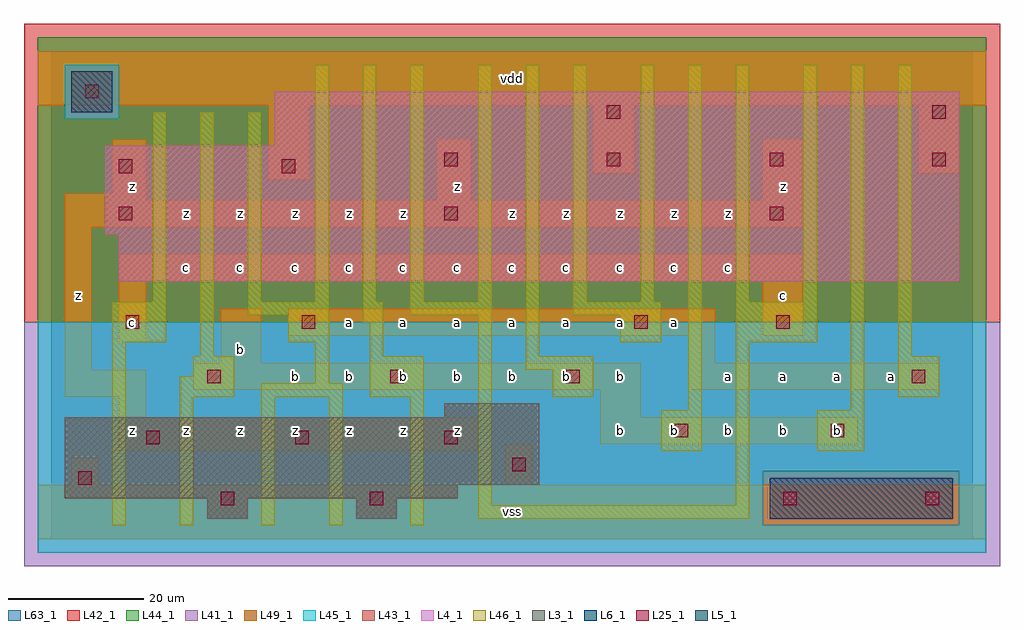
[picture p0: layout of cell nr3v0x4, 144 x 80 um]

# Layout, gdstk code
import gdstk
lib = gdstk.Library(unit=1e-6, precision=1e-09)
def R(c, l, rs):  # rectangles x0, y0, x1, y1
    for r in rs: c.add(gdstk.rectangle(r[:2], r[2:], *l))
def A(c, l, x, y, w, h, nx, ny, dx, dy):  # array of equal rectangles
    R(c, l, [(x+i*dx, y+j*dy, x+i*dx+w, y+j*dy+h) for i in range(nx) for j in range(ny)])
L3_1 = (3, 1)
L4_1 = (4, 1)
L5_1 = (5, 1)
L6_1 = (6, 1)
L25_1 = (25, 1)
L41_1 = (41, 1)
L42_1 = (42, 1)
L43_1 = (43, 1)
L44_1 = (44, 1)
L45_1 = (45, 1)
L46_1 = (46, 1)
L49_1 = (49, 1)
L63_1 = (63, 1)

nr3v0x4 = lib.new_cell('nr3v0x4')
R(nr3v0x4, L3_1, [(23,3,29,6), (45,3,51,6), (2,6,60,8), (2,8,72,18), (58,18,72,20)])
R(nr3v0x4, L4_1, [(10,38,134,45), (8,45,134,58), (33,58,134,66)])
R(nr3v0x4, L5_1, [(3,63,9,69)])
R(nr3v0x4, L6_1, [(106,3,133,9), (106,3,133,9)])
A(nr3v0x4, L25_1, 14, 14, 2, 2, 3, 1, 22, 0)
A(nr3v0x4, L25_1, 10, 47, 2, 2, 3, 1, 48, 0)
A(nr3v0x4, L25_1, 58, 55, 2, 2, 4, 1, 24, 0)
R(nr3v0x4, L25_1, [(25,5,27,7), (47,5,49,7), (108,5,110,7), (129,5,131,7), (4,8,6,10), (68,10,70,12), (92,15,94,17), (115,15,117,17), (23,23,25,25), (50,23,52,25), (76,23,78,25), (127,23,129,25), (11,31,13,33), (37,31,39,33), (86,31,88,33), (107,31,109,33), (10,54,12,56), (34,54,36,56), (82,62,84,64), (130,62,132,64), (5,65,7,67)])
R(nr3v0x4, L41_1, [(-4,-4,140,32)])
R(nr3v0x4, L42_1, [(-4,32,140,76)])
R(nr3v0x4, L43_1, [(23,3,29,6), (45,3,51,6), (106,3,133,9), (2,6,60,8), (2,8,72,18), (58,18,72,20), (10,38,134,45), (8,45,134,58), (33,58,134,66), (3,63,9,69)])
R(nr3v0x4, L44_1, [(105,2,134,10), (-2,32,138,62), (-2,62,2,70), (10,62,138,70), (-2,70,138,74)])
R(nr3v0x4, L45_1, [(-2,-2,138,2), (-2,2,105,10), (134,2,138,10), (-2,10,138,32), (2,62,10,70)])
A(nr3v0x4, L46_1, 39, 35, 2, 35, 3, 1, 7, 0)
R(nr3v0x4, L46_1, [(9,2,11,29), (19,2,21,21), (31,2,33,21), (41,2,43,21), (53,2,55,21), (63,3,103,5), (63,5,65,33), (101,5,103,29), (90,13,96,19), (113,13,120,19), (94,19,96,70), (118,19,120,70), (19,21,27,24), (31,21,43,23), (47,21,55,27), (74,21,80,25), (125,21,131,27), (39,23,41,29), (21,24,27,27), (70,25,80,27), (22,27,24,63), (47,27,49,32), (70,27,72,70), (125,27,127,70), (9,29,17,35), (35,29,41,33), (84,29,90,33), (101,29,113,35), (46,32,49,35), (29,33,41,35), (53,33,65,35), (77,33,90,35), (15,35,17,63), (29,35,31,63), (63,35,65,70), (77,35,79,70), (87,35,89,70), (101,35,103,70), (111,35,113,70)])
R(nr3v0x4, L49_1, [(-2,0,138,8), (3,8,7,12), (67,8,71,14), (10,13,63,18), (81,14,119,18), (10,18,14,21), (81,18,87,22), (2,21,14,25), (21,22,87,26), (94,22,131,26), (2,25,6,46), (25,26,31,34), (94,26,98,30), (10,29,14,38), (35,30,98,34), (105,30,111,38), (10,38,111,42), (2,46,111,50), (2,50,14,51), (57,50,62,59), (105,50,111,59), (9,51,14,59), (32,53,38,64), (80,54,86,64), (128,54,134,64), (-2,64,138,72)])
R(nr3v0x4, L63_1, [(0,0,136,72)])
nr3v0x4.add(gdstk.Label('z', (12,16), layer=49, texttype=1))
nr3v0x4.add(gdstk.Label('c', (12,32), layer=49, texttype=1))
nr3v0x4.add(gdstk.Label('z', (4,36), layer=49, texttype=1))
nr3v0x4.add(gdstk.Label('z', (12,52), layer=49, texttype=1))
nr3v0x4.add(gdstk.Label('z', (20,16), layer=49, texttype=1))
nr3v0x4.add(gdstk.Label('z', (28,16), layer=49, texttype=1))
nr3v0x4.add(gdstk.Label('z', (36,16), layer=49, texttype=1))
nr3v0x4.add(gdstk.Label('b', (28,28), layer=49, texttype=1))
nr3v0x4.add(gdstk.Label('b', (36,24), layer=49, texttype=1))
nr3v0x4.add(gdstk.Label('c', (28,40), layer=49, texttype=1))
nr3v0x4.add(gdstk.Label('c', (36,40), layer=49, texttype=1))
nr3v0x4.add(gdstk.Label('c', (20,40), layer=49, texttype=1))
nr3v0x4.add(gdstk.Label('z', (28,48), layer=49, texttype=1))
nr3v0x4.add(gdstk.Label('z', (36,48), layer=49, texttype=1))
nr3v0x4.add(gdstk.Label('z', (20,48), layer=49, texttype=1))
nr3v0x4.add(gdstk.Label('z', (44,16), layer=49, texttype=1))
nr3v0x4.add(gdstk.Label('z', (52,16), layer=49, texttype=1))
nr3v0x4.add(gdstk.Label('z', (60,16), layer=49, texttype=1))
nr3v0x4.add(gdstk.Label('b', (52,24), layer=49, texttype=1))
nr3v0x4.add(gdstk.Label('b', (60,24), layer=49, texttype=1))
nr3v0x4.add(gdstk.Label('b', (44,24), layer=49, texttype=1))
nr3v0x4.add(gdstk.Label('a', (44,32), layer=49, texttype=1))
nr3v0x4.add(gdstk.Label('a', (52,32), layer=49, texttype=1))
nr3v0x4.add(gdstk.Label('a', (60,32), layer=49, texttype=1))
nr3v0x4.add(gdstk.Label('c', (52,40), layer=49, texttype=1))
nr3v0x4.add(gdstk.Label('c', (60,40), layer=49, texttype=1))
nr3v0x4.add(gdstk.Label('c', (44,40), layer=49, texttype=1))
nr3v0x4.add(gdstk.Label('z', (52,48), layer=49, texttype=1))
nr3v0x4.add(gdstk.Label('z', (60,52), layer=49, texttype=1))
nr3v0x4.add(gdstk.Label('z', (44,48), layer=49, texttype=1))
nr3v0x4.add(gdstk.Label('vss', (68,4), layer=49, texttype=1))
nr3v0x4.add(gdstk.Label('b', (84,16), layer=49, texttype=1))
nr3v0x4.add(gdstk.Label('b', (76,24), layer=49, texttype=1))
nr3v0x4.add(gdstk.Label('b', (84,24), layer=49, texttype=1))
nr3v0x4.add(gdstk.Label('b', (68,24), layer=49, texttype=1))
nr3v0x4.add(gdstk.Label('a', (68,32), layer=49, texttype=1))
nr3v0x4.add(gdstk.Label('a', (76,32), layer=49, texttype=1))
nr3v0x4.add(gdstk.Label('a', (84,32), layer=49, texttype=1))
nr3v0x4.add(gdstk.Label('c', (76,40), layer=49, texttype=1))
nr3v0x4.add(gdstk.Label('c', (84,40), layer=49, texttype=1))
nr3v0x4.add(gdstk.Label('c', (68,40), layer=49, texttype=1))
nr3v0x4.add(gdstk.Label('z', (76,48), layer=49, texttype=1))
nr3v0x4.add(gdstk.Label('z', (84,48), layer=49, texttype=1))
nr3v0x4.add(gdstk.Label('z', (68,48), layer=49, texttype=1))
nr3v0x4.add(gdstk.Label('vdd', (68,68), layer=49, texttype=1))
nr3v0x4.add(gdstk.Label('b', (92,16), layer=49, texttype=1))
nr3v0x4.add(gdstk.Label('b', (100,16), layer=49, texttype=1))
nr3v0x4.add(gdstk.Label('b', (108,16), layer=49, texttype=1))
nr3v0x4.add(gdstk.Label('a', (100,24), layer=49, texttype=1))
nr3v0x4.add(gdstk.Label('a', (108,24), layer=49, texttype=1))
nr3v0x4.add(gdstk.Label('a', (92,32), layer=49, texttype=1))
nr3v0x4.add(gdstk.Label('c', (100,40), layer=49, texttype=1))
nr3v0x4.add(gdstk.Label('c', (108,36), layer=49, texttype=1))
nr3v0x4.add(gdstk.Label('c', (92,40), layer=49, texttype=1))
nr3v0x4.add(gdstk.Label('z', (100,48), layer=49, texttype=1))
nr3v0x4.add(gdstk.Label('z', (108,52), layer=49, texttype=1))
nr3v0x4.add(gdstk.Label('z', (92,48), layer=49, texttype=1))
nr3v0x4.add(gdstk.Label('b', (116,16), layer=49, texttype=1))
nr3v0x4.add(gdstk.Label('a', (124,24), layer=49, texttype=1))
nr3v0x4.add(gdstk.Label('a', (116,24), layer=49, texttype=1))

lib.write_gds('nr3v0x4.gds')
